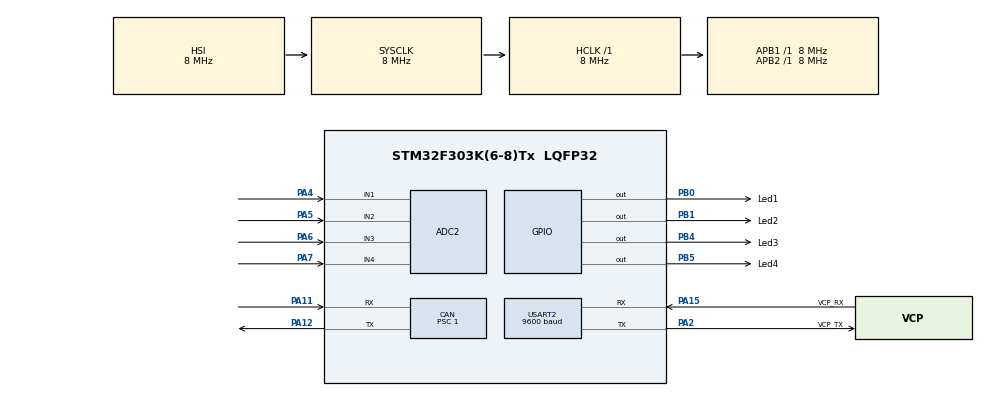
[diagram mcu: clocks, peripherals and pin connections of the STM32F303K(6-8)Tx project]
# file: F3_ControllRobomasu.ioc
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ADC2.Channel-0\#ChannelRegularConversion=ADC_CHANNEL_4
ADC2.Channel-1\#ChannelRegularConversion=ADC_CHANNEL_3
ADC2.Channel-2\#ChannelRegularConversion=ADC_CHANNEL_2
ADC2.Channel-3\#ChannelRegularConversion=ADC_CHANNEL_1
ADC2.ClockPrescaler=ADC_CLOCK_SYNC_PCLK_DIV4
ADC2.ContinuousConvMode=ENABLE
ADC2.DMAContinuousRequests=ENABLE
ADC2.NbrOfConversion=4
ADC2.NbrOfConversionFlag=1
ADC2.Offset-0\#ChannelRegularConversion=0
ADC2.Offset-1\#ChannelRegularConversion=0
ADC2.Offset-2\#ChannelRegularConversion=0
ADC2.Offset-3\#ChannelRegularConversion=0
ADC2.OffsetNumber-0\#ChannelRegularConversion=ADC_OFFSET_NONE
ADC2.OffsetNumber-1\#ChannelRegularConversion=ADC_OFFSET_NONE
ADC2.OffsetNumber-2\#ChannelRegularConversion=ADC_OFFSET_NONE
ADC2.OffsetNumber-3\#ChannelRegularConversion=ADC_OFFSET_NONE
ADC2.Rank-0\#ChannelRegularConversion=1
ADC2.Rank-1\#ChannelRegularConversion=2
ADC2.Rank-2\#ChannelRegularConversion=3
ADC2.Rank-3\#ChannelRegularConversion=4
ADC2.SamplingTime-0\#ChannelRegularConversion=ADC_SAMPLETIME_61CYCLES_5
ADC2.SamplingTime-1\#ChannelRegularConversion=ADC_SAMPLETIME_61CYCLES_5
ADC2.SamplingTime-2\#ChannelRegularConversion=ADC_SAMPLETIME_61CYCLES_5
ADC2.SamplingTime-3\#ChannelRegularConversion=ADC_SAMPLETIME_61CYCLES_5
ADC2.SamplingTimeOPAMP-1\#ChannelRegularConversion=ADC_SAMPLETIME_1CYCLE_5
ADC2.SamplingTimeOPAMP-2\#ChannelRegularConversion=ADC_SAMPLETIME_1CYCLE_5
ADC2.SamplingTimeOPAMP-3\#ChannelRegularConversion=ADC_SAMPLETIME_1CYCLE_5
CAN.BS1=CAN_BS1_5TQ
CAN.BS2=CAN_BS2_2TQ
CAN.CalculateBaudRate=1000000
CAN.CalculateTimeBit=1000
CAN.CalculateTimeQuantum=125.0
CAN.Prescaler=1
Dma.ADC2.0.Direction=DMA_PERIPH_TO_MEMORY
Dma.ADC2.0.Instance=DMA1_Channel2
Dma.ADC2.0.MemDataAlignment=DMA_MDATAALIGN_HALFWORD
Dma.ADC2.0.MemInc=DMA_MINC_ENABLE
Dma.ADC2.0.Mode=DMA_CIRCULAR
Dma.ADC2.0.PeriphDataAlignment=DMA_PDATAALIGN_HALFWORD
Dma.ADC2.0.PeriphInc=DMA_PINC_DISABLE
Dma.ADC2.0.Priority=DMA_PRIORITY_LOW
Dma.Request0=ADC2
Mcu.Family=STM32F3
Mcu.Name=STM32F303K(6-8)Tx
Mcu.Package=LQFP32
NVIC.CAN_RX0_IRQn=true\:0\:0\:false\:false\:true\:true\:true\:true
NVIC.DMA1_Channel2_IRQn=true\:0\:0\:false\:false\:true\:false\:true\:true
NVIC.PriorityGroup=NVIC_PRIORITYGROUP_4
PA11.Mode=CAN_Activate
PA11.Signal=CAN_RX
PA12.Mode=CAN_Activate
PA12.Signal=CAN_TX
PA13.GPIO_Label=SWDIO
PA13.Mode=Serial_Wire
PA13.Signal=SYS_JTMS-SWDIO
PA14.GPIO_Label=SWCLK
PA14.Mode=Serial_Wire
PA14.Signal=SYS_JTCK-SWCLK
PA15.GPIO_Label=VCP_RX
PA15.Mode=Asynchronous
PA15.Signal=USART2_RX
PA2.GPIO_Label=VCP_TX
PA2.Mode=Asynchronous
PA2.Signal=USART2_TX
PA4.Mode=IN1-Single-Ended
PA4.Signal=ADC2_IN1
PA5.Mode=IN2-Single-Ended
PA5.Signal=ADC2_IN2
PA6.Mode=IN3-Single-Ended
PA6.Signal=ADC2_IN3
PA7.Mode=IN4-Single-Ended
PA7.Signal=ADC2_IN4
PB0.GPIO_Label=Led1
PB0.Signal=GPIO_Output
PB1.GPIO_Label=Led2
PB1.Signal=GPIO_Output
PB4.GPIO_Label=Led3
PB4.Signal=GPIO_Output
PB5.GPIO_Label=Led4
PB5.Signal=GPIO_Output
PF0\ /\ OSC_IN.GPIO_Label=MCO
PF0\ /\ OSC_IN.Mode=HSE-External-Clock-Source
PF0\ /\ OSC_IN.Signal=RCC_OSC_IN
ProjectManager.HeapSize=0x200
ProjectManager.StackSize=0x400
ProjectManager.TargetToolchain=STM32CubeIDE
RCC.AHBFreq_Value=8000000
RCC.APB1Freq_Value=8000000
RCC.APB2Freq_Value=8000000
RCC.CortexFreq_Value=8000000
RCC.HSE_VALUE=8000000
RCC.HSI_VALUE=8000000
RCC.PLLMUL=RCC_PLL_MUL4
RCC.SYSCLKFreq_VALUE=8000000
USART2.BaudRate=9600
USART2.VirtualMode-Asynchronous=VM_ASYNC
board=NUCLEO-F303K8

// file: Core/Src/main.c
/* USER CODE BEGIN Header */
/**
  ******************************************************************************
  * @file           : main.c
  * @brief          : Main program body
  ******************************************************************************
  * @attention
  *
  * Copyright (c) 2024 STMicroelectronics.
  * All rights reserved.
  *
  * This software is licensed under terms that can be found in the LICENSE file
  * in the root directory of this software component.
  * If no LICENSE file comes with this software, it is provided AS-IS.
  *
  ******************************************************************************
  */
/* USER CODE END Header */
#include "main.h"

/* USER CODE BEGIN Includes */
#include <stdio.h>
/* USER CODE END Includes */

ADC_HandleTypeDef hadc2;
DMA_HandleTypeDef hdma_adc2;

CAN_HandleTypeDef hcan;

UART_HandleTypeDef huart2;

/* USER CODE BEGIN PV */

uint16_t adcValue[4] = {0};

int16_t torque[4]={0};

uint16_t nowAngle[4]={0};
uint16_t nowSpeed[4]={0};
uint16_t nowTorque[4]={0};
uint16_t temperature[4]={0};

uint16_t targetAngle[4] = {0};//0~8191

CAN_TxHeaderTypeDef TxHeader;
uint32_t TxMailbox;
uint8_t TxData[8];

CAN_FilterTypeDef filter;
uint32_t id;
uint32_t dlc;
uint8_t data[8];

uint8_t RxData[8];

uint16_t angleError[4]={0};
/* USER CODE END PV */

void SystemClock_Config(void);
static void MX_GPIO_Init(void);
static void MX_DMA_Init(void);
static void MX_USART2_UART_Init(void);
static void MX_ADC2_Init(void);
static void MX_CAN_Init(void);
/* USER CODE BEGIN PFP */
void HAL_CAN_RxFifo0MsgPendingCallback(CAN_HandleTypeDef *hcan){
	CAN_RxHeaderTypeDef RxHeader;
	if(HAL_CAN_GetRxMessage(hcan,CAN_RX_FIFO0,&RxHeader,RxData)==HAL_OK){
		if((RxHeader.StdId&0xFF0)==0x200){
			uint8_t port = RxHeader.StdId&0x00F;
			id = (RxHeader.IDE == CAN_ID_STD)? RxHeader.StdId : RxHeader.ExtId;     // ID
			dlc = RxHeader.DLC;                                                     // DLC
			data[0] = RxData[0];                                                    // Data
			data[1] = RxData[1];
			data[2] = RxData[2];
			data[3] = RxData[3];
			data[4] = RxData[4];
			data[5] = RxData[5];
			data[6] = RxData[6];
			data[7] = RxData[7];
		    nowAngle[port - 1] = (data[0]<<8)|data[1];
		    nowSpeed[port - 1] = (data[2]<<8)|data[3];
		    nowTorque[port - 1]= (data[4]<<8)|data[5];
		}
	}
}

void setTorque(float p){
	for(uint8_t i = 0;i<4;i++){
		targetAngle[i] = adcValue[i]*2;
		angleError[i]  = targetAngle[i]-nowAngle[i];
		torque[i]      = p*angleError[i];
	}
}
/* USER CODE END PFP */

int main(void)
{

  /* USER CODE BEGIN 1 */
    setbuf(stdout, NULL);
  /* USER CODE END 1 */

  /* MCU Configuration--------------------------------------------------------*/

  /* Reset of all peripherals, Initializes the Flash interface and the Systick. */
  HAL_Init();

  /* Configure the system clock */
  SystemClock_Config();

  /* Initialize all configured peripherals */
  MX_GPIO_Init();
  MX_DMA_Init();
  MX_USART2_UART_Init();
  MX_ADC2_Init();
  MX_CAN_Init();
  /* USER CODE BEGIN 2 */
  HAL_ADCEx_Calibration_Start(&hadc2, ADC_SINGLE_ENDED);
  HAL_ADC_Start_DMA(&hadc2, (uint32_t *)&adcValue, 4);

  TxHeader.StdId = 0x200;
  TxHeader.RTR = CAN_RTR_DATA;
  TxHeader.IDE = CAN_ID_STD;
  TxHeader.DLC = 8;
  TxHeader.TransmitGlobalTime = DISABLE;

  filter.FilterIdHigh = 0;
  filter.FilterIdLow = 0;
  filter.FilterMaskIdHigh = 0;
  filter.FilterMaskIdLow = 0;
  filter.FilterScale = CAN_FILTERSCALE_32BIT;
  filter.FilterFIFOAssignment = CAN_FILTER_FIFO0;
  filter.FilterBank = 0;
  filter.FilterMode = CAN_FILTERMODE_IDMASK;
  filter.SlaveStartFilterBank = 0;
  filter.FilterActivation = ENABLE;
  HAL_CAN_ConfigFilter(&hcan,&filter);

  HAL_CAN_Start(&hcan);
  HAL_CAN_ActivateNotification(&hcan,CAN_IT_RX_FIFO0_MSG_PENDING);
  /* USER CODE END 2 */

  /* Infinite loop */
  /* USER CODE BEGIN WHILE */
  while (1)
  {
	  setTorque(0.1);

	  if(0<HAL_CAN_GetTxMailboxesFreeLevel(&hcan)){
		  TxHeader.StdId = 0x200;
		  TxData[0] = (torque[0]&0xFF00)>>8;
		  TxData[1] =  torque[0]&0x00FF;
		  TxData[2] = (torque[1]&0xFF00)>>8;
		  TxData[3] =  torque[1]&0x00FF;
		  TxData[4] = (torque[2]&0xFF00)>>8;
		  TxData[5] =  torque[2]&0x00FF;
		  TxData[6] = (torque[3]&0xFF00)>>8;
		  TxData[7] =  torque[3]&0x00FF;
		  HAL_CAN_AddTxMessage(&hcan,&TxHeader,TxData,&TxMailbox);
	  }

	  printf("%d %d,%d  %d %d\r\n",torque[0],data[0],data[1],targetAngle[0],nowAngle[0]);

    /* USER CODE END WHILE */

  }
}

void SystemClock_Config(void)
{
  RCC_OscInitTypeDef RCC_OscInitStruct = {0};
  RCC_ClkInitTypeDef RCC_ClkInitStruct = {0};

  /** Initializes the RCC Oscillators according to the specified parameters
  * in the RCC_OscInitTypeDef structure.
  */
  RCC_OscInitStruct.OscillatorType = RCC_OSCILLATORTYPE_HSI;
  RCC_OscInitStruct.HSIState = RCC_HSI_ON;
  RCC_OscInitStruct.HSICalibrationValue = RCC_HSICALIBRATION_DEFAULT;
  RCC_OscInitStruct.PLL.PLLState = RCC_PLL_NONE;
  if (HAL_RCC_OscConfig(&RCC_OscInitStruct) != HAL_OK)
  {
    Error_Handler();
  }

  /** Initializes the CPU, AHB and APB buses clocks
  */
  RCC_ClkInitStruct.ClockType = RCC_CLOCKTYPE_HCLK|RCC_CLOCKTYPE_SYSCLK
                              |RCC_CLOCKTYPE_PCLK1|RCC_CLOCKTYPE_PCLK2;
  RCC_ClkInitStruct.SYSCLKSource = RCC_SYSCLKSOURCE_HSI;
  RCC_ClkInitStruct.AHBCLKDivider = RCC_SYSCLK_DIV1;
  RCC_ClkInitStruct.APB1CLKDivider = RCC_HCLK_DIV1;
  RCC_ClkInitStruct.APB2CLKDivider = RCC_HCLK_DIV1;

  if (HAL_RCC_ClockConfig(&RCC_ClkInitStruct, FLASH_LATENCY_0) != HAL_OK)
  {
    Error_Handler();
  }
}

static void MX_ADC2_Init(void)
{

  ADC_ChannelConfTypeDef sConfig = {0};

  /** Common config
  */
  hadc2.Instance = ADC2;
  hadc2.Init.ClockPrescaler = ADC_CLOCK_SYNC_PCLK_DIV4;
  hadc2.Init.Resolution = ADC_RESOLUTION_12B;
  hadc2.Init.ScanConvMode = ADC_SCAN_ENABLE;
  hadc2.Init.ContinuousConvMode = ENABLE;
  hadc2.Init.DiscontinuousConvMode = DISABLE;
  hadc2.Init.ExternalTrigConvEdge = ADC_EXTERNALTRIGCONVEDGE_NONE;
  hadc2.Init.ExternalTrigConv = ADC_SOFTWARE_START;
  hadc2.Init.DataAlign = ADC_DATAALIGN_RIGHT;
  hadc2.Init.NbrOfConversion = 4;
  hadc2.Init.DMAContinuousRequests = ENABLE;
  hadc2.Init.EOCSelection = ADC_EOC_SINGLE_CONV;
  hadc2.Init.LowPowerAutoWait = DISABLE;
  hadc2.Init.Overrun = ADC_OVR_DATA_OVERWRITTEN;
  if (HAL_ADC_Init(&hadc2) != HAL_OK)
  {
    Error_Handler();
  }

  /** Configure Regular Channel
  */
  sConfig.Channel = ADC_CHANNEL_4;
  sConfig.Rank = ADC_REGULAR_RANK_1;
  sConfig.SingleDiff = ADC_SINGLE_ENDED;
  sConfig.SamplingTime = ADC_SAMPLETIME_61CYCLES_5;
  sConfig.OffsetNumber = ADC_OFFSET_NONE;
  sConfig.Offset = 0;
  if (HAL_ADC_ConfigChannel(&hadc2, &sConfig) != HAL_OK)
  {
    Error_Handler();
  }

  /** Configure Regular Channel
  */
  sConfig.Channel = ADC_CHANNEL_3;
  sConfig.Rank = ADC_REGULAR_RANK_2;
  if (HAL_ADC_ConfigChannel(&hadc2, &sConfig) != HAL_OK)
  {
    Error_Handler();
  }

  /** Configure Regular Channel
  */
  sConfig.Channel = ADC_CHANNEL_2;
  sConfig.Rank = ADC_REGULAR_RANK_3;
  if (HAL_ADC_ConfigChannel(&hadc2, &sConfig) != HAL_OK)
  {
    Error_Handler();
  }

  /** Configure Regular Channel
  */
  sConfig.Channel = ADC_CHANNEL_1;
  sConfig.Rank = ADC_REGULAR_RANK_4;
  if (HAL_ADC_ConfigChannel(&hadc2, &sConfig) != HAL_OK)
  {
    Error_Handler();
  }

}

static void MX_CAN_Init(void)
{

  hcan.Instance = CAN;
  hcan.Init.Prescaler = 1;
  hcan.Init.Mode = CAN_MODE_NORMAL;
  hcan.Init.SyncJumpWidth = CAN_SJW_1TQ;
  hcan.Init.TimeSeg1 = CAN_BS1_5TQ;
  hcan.Init.TimeSeg2 = CAN_BS2_2TQ;
  hcan.Init.TimeTriggeredMode = DISABLE;
  hcan.Init.AutoBusOff = DISABLE;
  hcan.Init.AutoWakeUp = DISABLE;
  hcan.Init.AutoRetransmission = DISABLE;
  hcan.Init.ReceiveFifoLocked = DISABLE;
  hcan.Init.TransmitFifoPriority = DISABLE;
  if (HAL_CAN_Init(&hcan) != HAL_OK)
  {
    Error_Handler();
  }

}

static void MX_USART2_UART_Init(void)
{

  huart2.Instance = USART2;
  huart2.Init.BaudRate = 9600;
  huart2.Init.WordLength = UART_WORDLENGTH_8B;
  huart2.Init.StopBits = UART_STOPBITS_1;
  huart2.Init.Parity = UART_PARITY_NONE;
  huart2.Init.Mode = UART_MODE_TX_RX;
  huart2.Init.HwFlowCtl = UART_HWCONTROL_NONE;
  huart2.Init.OverSampling = UART_OVERSAMPLING_16;
  huart2.Init.OneBitSampling = UART_ONE_BIT_SAMPLE_DISABLE;
  huart2.AdvancedInit.AdvFeatureInit = UART_ADVFEATURE_NO_INIT;
  if (HAL_UART_Init(&huart2) != HAL_OK)
  {
    Error_Handler();
  }

}

static void MX_DMA_Init(void)
{

  /* DMA controller clock enable */
  __HAL_RCC_DMA1_CLK_ENABLE();

  /* DMA interrupt init */
  /* DMA1_Channel2_IRQn interrupt configuration */
  HAL_NVIC_SetPriority(DMA1_Channel2_IRQn, 0, 0);
  HAL_NVIC_EnableIRQ(DMA1_Channel2_IRQn);

}

static void MX_GPIO_Init(void)
{
  GPIO_InitTypeDef GPIO_InitStruct = {0};

  /* GPIO Ports Clock Enable */
  __HAL_RCC_GPIOF_CLK_ENABLE();
  __HAL_RCC_GPIOA_CLK_ENABLE();
  __HAL_RCC_GPIOB_CLK_ENABLE();

  /*Configure GPIO pin Output Level */
  HAL_GPIO_WritePin(GPIOB, Led1_Pin|Led2_Pin|Led3_Pin|Led4_Pin, GPIO_PIN_RESET);

  /*Configure GPIO pins : Led1_Pin Led2_Pin Led3_Pin Led4_Pin */
  GPIO_InitStruct.Pin = Led1_Pin|Led2_Pin|Led3_Pin|Led4_Pin;
  GPIO_InitStruct.Mode = GPIO_MODE_OUTPUT_PP;
  GPIO_InitStruct.Pull = GPIO_NOPULL;
  GPIO_InitStruct.Speed = GPIO_SPEED_FREQ_LOW;
  HAL_GPIO_Init(GPIOB, &GPIO_InitStruct);

}

/* USER CODE BEGIN 4 */
int _write(int file, char *ptr, int len)
{
  HAL_UART_Transmit(&huart2,(uint8_t *)ptr,len,10);
  return len;
}
/* USER CODE END 4 */

void Error_Handler(void)
{
  __disable_irq();
  while (1)
  {
  }
}
